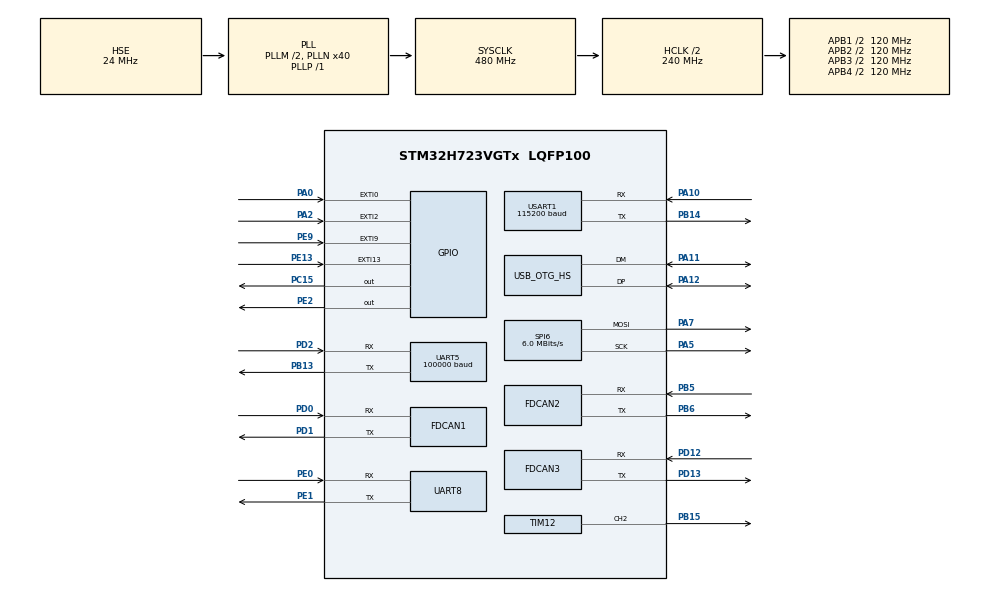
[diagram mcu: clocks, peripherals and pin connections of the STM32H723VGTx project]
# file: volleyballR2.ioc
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Bdma.Request0=SPI6_TX
Bdma.RequestsNb=1
Bdma.SPI6_TX.0.Direction=DMA_MEMORY_TO_PERIPH
Bdma.SPI6_TX.0.EventEnable=DISABLE
Bdma.SPI6_TX.0.Instance=BDMA_Channel0
Bdma.SPI6_TX.0.MemDataAlignment=DMA_MDATAALIGN_BYTE
Bdma.SPI6_TX.0.MemInc=DMA_MINC_ENABLE
Bdma.SPI6_TX.0.Mode=DMA_NORMAL
Bdma.SPI6_TX.0.PeriphDataAlignment=DMA_PDATAALIGN_BYTE
Bdma.SPI6_TX.0.PeriphInc=DMA_PINC_DISABLE
Bdma.SPI6_TX.0.Polarity=HAL_DMAMUX_REQ_GEN_RISING
Bdma.SPI6_TX.0.Priority=DMA_PRIORITY_HIGH
Bdma.SPI6_TX.0.RequestNumber=1
Bdma.SPI6_TX.0.SignalID=NONE
Bdma.SPI6_TX.0.SyncEnable=DISABLE
Bdma.SPI6_TX.0.SyncPolarity=HAL_DMAMUX_SYNC_NO_EVENT
Bdma.SPI6_TX.0.SyncRequestNumber=1
Bdma.SPI6_TX.0.SyncSignalID=NONE
CORTEX_M7.default_mode_Activation=1
Dma.Request0=USART1_RX
Dma.Request1=UART5_RX
Dma.UART5_RX.1.Direction=DMA_PERIPH_TO_MEMORY
Dma.UART5_RX.1.EventEnable=DISABLE
Dma.UART5_RX.1.FIFOMode=DMA_FIFOMODE_DISABLE
Dma.UART5_RX.1.Instance=DMA1_Stream2
Dma.UART5_RX.1.MemDataAlignment=DMA_MDATAALIGN_BYTE
Dma.UART5_RX.1.MemInc=DMA_MINC_ENABLE
Dma.UART5_RX.1.Mode=DMA_CIRCULAR
Dma.UART5_RX.1.PeriphDataAlignment=DMA_PDATAALIGN_BYTE
Dma.UART5_RX.1.PeriphInc=DMA_PINC_DISABLE
Dma.UART5_RX.1.Polarity=HAL_DMAMUX_REQ_GEN_RISING
Dma.UART5_RX.1.Priority=DMA_PRIORITY_VERY_HIGH
Dma.UART5_RX.1.RequestNumber=1
Dma.UART5_RX.1.SignalID=NONE
Dma.UART5_RX.1.SyncEnable=DISABLE
Dma.UART5_RX.1.SyncPolarity=HAL_DMAMUX_SYNC_NO_EVENT
Dma.UART5_RX.1.SyncRequestNumber=1
Dma.UART5_RX.1.SyncSignalID=NONE
Dma.USART1_RX.0.Direction=DMA_PERIPH_TO_MEMORY
Dma.USART1_RX.0.EventEnable=DISABLE
Dma.USART1_RX.0.FIFOMode=DMA_FIFOMODE_DISABLE
Dma.USART1_RX.0.Instance=DMA1_Stream0
Dma.USART1_RX.0.MemDataAlignment=DMA_MDATAALIGN_BYTE
Dma.USART1_RX.0.MemInc=DMA_MINC_ENABLE
Dma.USART1_RX.0.Mode=DMA_NORMAL
Dma.USART1_RX.0.PeriphDataAlignment=DMA_PDATAALIGN_BYTE
Dma.USART1_RX.0.PeriphInc=DMA_PINC_DISABLE
Dma.USART1_RX.0.Polarity=HAL_DMAMUX_REQ_GEN_RISING
Dma.USART1_RX.0.Priority=DMA_PRIORITY_LOW
Dma.USART1_RX.0.RequestNumber=1
Dma.USART1_RX.0.SignalID=NONE
Dma.USART1_RX.0.SyncEnable=DISABLE
Dma.USART1_RX.0.SyncPolarity=HAL_DMAMUX_SYNC_NO_EVENT
Dma.USART1_RX.0.SyncRequestNumber=1
Dma.USART1_RX.0.SyncSignalID=NONE
FDCAN1.AutoRetransmission=ENABLE
FDCAN1.CalculateBaudRateNominal=1000000
FDCAN1.CalculateTimeBitNominal=1000
FDCAN1.CalculateTimeQuantumNominal=12.5
FDCAN1.DataSyncJumpWidth=2
FDCAN1.DataTimeSeg1=13
FDCAN1.DataTimeSeg2=2
FDCAN1.ExtFiltersNbr=4
FDCAN1.NominalPrescaler=1
FDCAN1.NominalSyncJumpWidth=20
FDCAN1.NominalTimeSeg1=59
FDCAN1.NominalTimeSeg2=20
FDCAN1.ProtocolException=ENABLE
FDCAN1.RxBuffersNbr=2
FDCAN1.RxFifo0ElmtsNbr=8
FDCAN1.RxFifo1ElmtsNbr=8
FDCAN1.StdFiltersNbr=4
FDCAN1.TxBuffersNbr=8
FDCAN1.TxEventsNbr=8
FDCAN1.TxFifoQueueElmtsNbr=8
FDCAN2.AutoRetransmission=ENABLE
FDCAN2.CalculateBaudRateNominal=1000000
FDCAN2.CalculateTimeBitNominal=1000
FDCAN2.CalculateTimeQuantumNominal=12.5
FDCAN2.DataSyncJumpWidth=2
FDCAN2.DataTimeSeg1=13
FDCAN2.DataTimeSeg2=2
FDCAN2.ExtFiltersNbr=4
FDCAN2.MessageRAMOffset=0x406
FDCAN2.NominalPrescaler=1
FDCAN2.NominalSyncJumpWidth=20
FDCAN2.NominalTimeSeg1=59
FDCAN2.NominalTimeSeg2=20
FDCAN2.ProtocolException=ENABLE
FDCAN2.RxBuffersNbr=2
FDCAN2.RxFifo0ElmtsNbr=8
FDCAN2.RxFifo1ElmtsNbr=8
FDCAN2.StdFiltersNbr=4
FDCAN2.TxBuffersNbr=8
FDCAN2.TxEventsNbr=8
FDCAN2.TxFifoQueueElmtsNbr=8
FDCAN3.AutoRetransmission=ENABLE
FDCAN3.CalculateBaudRateNominal=1000000
FDCAN3.CalculateTimeBitNominal=1000
FDCAN3.CalculateTimeQuantumNominal=12.5
FDCAN3.DataSyncJumpWidth=2
FDCAN3.DataTimeSeg1=13
FDCAN3.DataTimeSeg2=2
FDCAN3.ExtFiltersNbr=4
FDCAN3.MessageRAMOffset=0x812
FDCAN3.NominalPrescaler=1
FDCAN3.NominalSyncJumpWidth=20
FDCAN3.NominalTimeSeg1=59
FDCAN3.NominalTimeSeg2=20
FDCAN3.ProtocolException=ENABLE
FDCAN3.RxBuffersNbr=2
FDCAN3.RxFifo0ElmtsNbr=8
FDCAN3.RxFifo1ElmtsNbr=8
FDCAN3.StdFiltersNbr=4
FDCAN3.TxBuffersNbr=8
FDCAN3.TxEventsNbr=8
FDCAN3.TxFifoQueueElmtsNbr=8
FREERTOS.Tasks01=defaultTask,-2,128,StartDefaultTask,Default,NULL,Dynamic,NULL,NULL;CanTask,-2,512,Can_Task,As weak,NULL,Dynamic,NULL,NULL;MotionTask,3,512,Motion_Task,As weak,NULL,Dynamic,NULL,NULL
Mcu.Family=STM32H7
Mcu.Name=STM32H723VGTx
Mcu.Package=LQFP100
NVIC.BDMA_Channel0_IRQn=true\:5\:0\:false\:false\:true\:true\:false\:true\:true
NVIC.DMA1_Stream0_IRQn=true\:5\:0\:false\:false\:true\:true\:false\:true\:true
NVIC.DMA1_Stream2_IRQn=true\:5\:0\:false\:false\:true\:false\:false\:true\:true
NVIC.EXTI0_IRQn=true\:5\:0\:true\:false\:true\:true\:true\:true\:true
NVIC.EXTI15_10_IRQn=true\:5\:0\:false\:false\:true\:true\:true\:true\:true
NVIC.EXTI2_IRQn=true\:5\:0\:false\:false\:true\:true\:true\:true\:true
NVIC.EXTI9_5_IRQn=true\:5\:0\:false\:false\:true\:true\:true\:true\:true
NVIC.FDCAN1_IT0_IRQn=true\:5\:0\:false\:false\:true\:true\:true\:true\:true
NVIC.FDCAN1_IT1_IRQn=true\:5\:0\:false\:false\:true\:true\:true\:true\:true
NVIC.FDCAN2_IT0_IRQn=true\:5\:0\:false\:false\:true\:true\:true\:true\:true
NVIC.FDCAN2_IT1_IRQn=true\:5\:0\:false\:false\:true\:true\:true\:true\:true
NVIC.FDCAN3_IT0_IRQn=true\:5\:0\:false\:false\:true\:true\:true\:true\:true
NVIC.FDCAN3_IT1_IRQn=true\:5\:0\:false\:false\:true\:true\:true\:true\:true
NVIC.OTG_HS_IRQn=true\:5\:0\:false\:false\:true\:true\:true\:true\:true
NVIC.PriorityGroup=NVIC_PRIORITYGROUP_4
NVIC.SPI6_IRQn=true\:5\:0\:false\:false\:true\:true\:false\:true\:true
NVIC.TIM1_UP_IRQn=true\:15\:0\:false\:false\:true\:false\:false\:true\:true
NVIC.TIM2_IRQn=true\:5\:0\:false\:false\:true\:true\:true\:true\:true
NVIC.TIM8_BRK_TIM12_IRQn=true\:5\:0\:false\:false\:true\:true\:true\:true\:true
NVIC.TimeBase=TIM1_UP_IRQn
NVIC.TimeBaseIP=TIM1
NVIC.UART5_IRQn=true\:5\:0\:false\:false\:true\:true\:true\:true\:true
NVIC.UART8_IRQn=true\:5\:0\:false\:false\:true\:true\:true\:true\:true
NVIC.USART1_IRQn=true\:5\:0\:false\:false\:true\:true\:true\:true\:true
PA0.GPIO_ModeDefaultEXTI=GPIO_MODE_IT_FALLING
PA0.GPIO_PuPd=GPIO_PULLUP
PA0.Signal=GPXTI0
PA10.Mode=Asynchronous
PA10.Signal=USART1_RX
PA11.Mode=Device_Only_FS
PA11.Signal=USB_OTG_HS_DM
PA12.Mode=Device_Only_FS
PA12.Signal=USB_OTG_HS_DP
PA2.GPIO_ModeDefaultEXTI=GPIO_MODE_IT_FALLING
PA2.GPIO_PuPd=GPIO_PULLUP
PA2.Signal=GPXTI2
PA5.Mode=TX_Only_Simplex_Unidirect_Master
PA5.Signal=SPI6_SCK
PA7.Mode=TX_Only_Simplex_Unidirect_Master
PA7.Signal=SPI6_MOSI
PB13.Mode=Asynchronous
PB13.Signal=UART5_TX
PB14.Mode=Asynchronous
PB14.Signal=USART1_TX
PB15.Signal=S_TIM12_CH2
PB5.Mode=FDCAN_Activate
PB5.Signal=FDCAN2_RX
PB6.Mode=FDCAN_Activate
PB6.Signal=FDCAN2_TX
PC15-OSC32_OUT.GPIO_PuPd=GPIO_PULLUP
PC15-OSC32_OUT.Signal=GPIO_Output
PD0.Mode=FDCAN_Activate
PD0.Signal=FDCAN1_RX
PD1.Mode=FDCAN_Activate
PD1.Signal=FDCAN1_TX
PD12.Mode=FDCAN_Activate
PD12.Signal=FDCAN3_RX
PD13.Mode=FDCAN_Activate
PD13.Signal=FDCAN3_TX
PD2.Mode=Asynchronous
PD2.Signal=UART5_RX
PE0.Mode=Asynchronous
PE0.Signal=UART8_RX
PE1.Mode=Asynchronous
PE1.Signal=UART8_TX
PE13.GPIO_ModeDefaultEXTI=GPIO_MODE_IT_FALLING
PE13.GPIO_PuPd=GPIO_PULLUP
PE13.Signal=GPXTI13
PE2.Signal=GPIO_Output
PE9.GPIO_ModeDefaultEXTI=GPIO_MODE_IT_FALLING
PE9.GPIO_PuPd=GPIO_PULLUP
PE9.Signal=GPXTI9
PH0-OSC_IN.Mode=HSE-External-Oscillator
PH0-OSC_IN.Signal=RCC_OSC_IN
PH1-OSC_OUT.Mode=HSE-External-Oscillator
PH1-OSC_OUT.Signal=RCC_OSC_OUT
ProjectManager.HeapSize=0x200
ProjectManager.StackSize=0x400
ProjectManager.TargetToolchain=MDK-ARM V5.32
RCC.ADCFreq_Value=48375000
RCC.APB1Freq_Value=120000000
RCC.APB2Freq_Value=120000000
RCC.APB3Freq_Value=120000000
RCC.APB4Freq_Value=120000000
RCC.CortexFreq_Value=480000000
RCC.D1PPRE=RCC_APB3_DIV2
RCC.D2PPRE1=RCC_APB1_DIV2
RCC.D2PPRE2=RCC_APB2_DIV2
RCC.D3PPRE=RCC_APB4_DIV2
RCC.DIVM1=2
RCC.DIVN1=40
RCC.DIVP1=1
RCC.DIVQ1=6
RCC.HCLKFreq_Value=240000000
RCC.HPRE=RCC_HCLK_DIV2
RCC.HSE_VALUE=24000000
RCC.PLL2FRACN=0
RCC.PLL3FRACN=0
RCC.PLLFRACN=0
RCC.PLLSourceVirtual=RCC_PLLSOURCE_HSE
RCC.SPI6CLockSelection=RCC_SPI6CLKSOURCE_HSE
RCC.SYSCLKFreq_VALUE=480000000
RCC.SYSCLKSource=RCC_SYSCLKSOURCE_PLLCLK
RCC.USBCLockSelection=RCC_USBCLKSOURCE_HSI48
RCC.USBFreq_Value=48000000
SH.S_TIM12_CH2.0=TIM12_CH2,PWM Generation2 CH2
SPI6.BaudRatePrescaler=SPI_BAUDRATEPRESCALER_4
SPI6.CLKPhase=SPI_PHASE_2EDGE
SPI6.CalculateBaudRate=6.0 MBits/s
SPI6.DataSize=SPI_DATASIZE_8BIT
SPI6.Direction=SPI_DIRECTION_2LINES_TXONLY
SPI6.Mode=SPI_MODE_MASTER
SPI6.VirtualType=VM_MASTER
TIM12.Channel-PWM\ Generation2\ CH2=TIM_CHANNEL_2
TIM12.Prescaler=240-1
TIM2.Period=1000-1
TIM2.Prescaler=480-1
UART5.BaudRate=100000
UART5.Parity=PARITY_EVEN
UART5.StopBits=UART_STOPBITS_2
UART5.WordLength=WORDLENGTH_9B
USART1.BaudRate=115200
USART1.StopBits=STOPBITS_2
USART1.VirtualMode-Asynchronous=VM_ASYNC
USART1.WordLength=WORDLENGTH_8B
USB_DEVICE.CLASS_NAME_HS=CDC
USB_DEVICE.VirtualMode=Cdc
USB_DEVICE.VirtualModeHS=Cdc_HS
USB_OTG_HS.VirtualMode-Device_Only_FS=Device_Only_FS
VP_FREERTOS_VS_CMSIS_V2.Mode=CMSIS_V2
VP_MEMORYMAP_VS_MEMORYMAP.Mode=CurAppReg
VP_SYS_VS_tim1.Mode=TIM1
VP_TIM12_VS_ClockSourceINT.Mode=Internal
VP_TIM2_VS_ClockSourceINT.Mode=Internal
VP_USB_DEVICE_VS_USB_DEVICE_CDC_HS.Mode=CDC_HS
board=custom

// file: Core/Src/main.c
/* USER CODE BEGIN Header */
/**
  ******************************************************************************
  * @file           : main.c
  * @brief          : Main program body
  ******************************************************************************
  * @attention
  *
  * Copyright (c) 2026 STMicroelectronics.
  * All rights reserved.
  *
  * This software is licensed under terms that can be found in the LICENSE file
  * in the root directory of this software component.
  * If no LICENSE file comes with this software, it is provided AS-IS.
  *
  ******************************************************************************
  */
/* USER CODE END Header */
#include "main.h"
#include "FreeRTOS.h"
#include "cmsis_os2.h"
#include "bdma.h"
#include "dma.h"
#include "fdcan.h"
#include "spi.h"
#include "tim.h"
#include "usart.h"
#include "usb_device.h"
#include "gpio.h"

/* USER CODE BEGIN Includes */
#include "register.h"
#include "bsp_can.h"
#include "bsp_uart.h"
#include "dji_motor.h"
#include "master_control.h"
#include "KEY.h"
#include "Motion_Task.h"
#include "BUZZER.h"
#include "Can_Task.h"
#include "ws2812.h"
/* USER CODE END Includes */

void SystemClock_Config(void);
static void MPU_Config(void);
void MX_FREERTOS_Init(void);

int main(void)
{

  /* MPU Configuration--------------------------------------------------------*/
  MPU_Config();

  /* MCU Configuration--------------------------------------------------------*/

  /* Reset of all peripherals, Initializes the Flash interface and the Systick. */
  HAL_Init();

  /* Configure the system clock */
  SystemClock_Config();

  /* USER CODE BEGIN SysInit */

  MX_GPIO_Init();
	HAL_GPIO_WritePin(GPIOC,GPIO_PIN_15,GPIO_PIN_SET);
	HAL_Delay(1500);
  /* USER CODE END SysInit */

  /* Initialize all configured peripherals */
  MX_GPIO_Init();
  MX_DMA_Init();
  MX_BDMA_Init();
  MX_FDCAN1_Init();
  MX_FDCAN2_Init();
  MX_FDCAN3_Init();
  MX_USART1_UART_Init();
  MX_UART8_Init();
  MX_SPI6_Init();
  MX_UART5_Init();
  MX_TIM12_Init();
  MX_TIM2_Init();
  /* USER CODE BEGIN 2 */
  //�����ʼ��
  BSP_CAN_Init();
  BSP_USART_Init();
  HAL_Delay(1500);
  //������ʼ��
  Structue_Init();
//   HAL_UART_Receive_IT(&huart1, &data8, 1);
  HAL_TIM_Base_Start_IT(&htim2);
	HAL_TIM_PWM_Start(&htim12,TIM_CHANNEL_2);

  /* USER CODE END 2 */

  /* Init scheduler */
  osKernelInitialize();  /* Call init function for freertos objects (in cmsis_os2.c) */
  MX_FREERTOS_Init();

  /* Start scheduler */
  osKernelStart();

  /* We should never get here as control is now taken by the scheduler */

  /* Infinite loop */
  while (1)
  {

  }
}

void SystemClock_Config(void)
{
  RCC_OscInitTypeDef RCC_OscInitStruct = {0};
  RCC_ClkInitTypeDef RCC_ClkInitStruct = {0};

  /** Supply configuration update enable
  */
  HAL_PWREx_ConfigSupply(PWR_LDO_SUPPLY);

  /** Configure the main internal regulator output voltage
  */
  __HAL_PWR_VOLTAGESCALING_CONFIG(PWR_REGULATOR_VOLTAGE_SCALE0);

  while(!__HAL_PWR_GET_FLAG(PWR_FLAG_VOSRDY)) {}

  /** Initializes the RCC Oscillators according to the specified parameters
  * in the RCC_OscInitTypeDef structure.
  */
  RCC_OscInitStruct.OscillatorType = RCC_OSCILLATORTYPE_HSI48|RCC_OSCILLATORTYPE_HSE;
  RCC_OscInitStruct.HSEState = RCC_HSE_ON;
  RCC_OscInitStruct.HSI48State = RCC_HSI48_ON;
  RCC_OscInitStruct.PLL.PLLState = RCC_PLL_ON;
  RCC_OscInitStruct.PLL.PLLSource = RCC_PLLSOURCE_HSE;
  RCC_OscInitStruct.PLL.PLLM = 2;
  RCC_OscInitStruct.PLL.PLLN = 40;
  RCC_OscInitStruct.PLL.PLLP = 1;
  RCC_OscInitStruct.PLL.PLLQ = 6;
  RCC_OscInitStruct.PLL.PLLR = 2;
  RCC_OscInitStruct.PLL.PLLRGE = RCC_PLL1VCIRANGE_3;
  RCC_OscInitStruct.PLL.PLLVCOSEL = RCC_PLL1VCOWIDE;
  RCC_OscInitStruct.PLL.PLLFRACN = 0;
  if (HAL_RCC_OscConfig(&RCC_OscInitStruct) != HAL_OK)
  {
    Error_Handler();
  }

  /** Initializes the CPU, AHB and APB buses clocks
  */
  RCC_ClkInitStruct.ClockType = RCC_CLOCKTYPE_HCLK|RCC_CLOCKTYPE_SYSCLK
                              |RCC_CLOCKTYPE_PCLK1|RCC_CLOCKTYPE_PCLK2
                              |RCC_CLOCKTYPE_D3PCLK1|RCC_CLOCKTYPE_D1PCLK1;
  RCC_ClkInitStruct.SYSCLKSource = RCC_SYSCLKSOURCE_PLLCLK;
  RCC_ClkInitStruct.SYSCLKDivider = RCC_SYSCLK_DIV1;
  RCC_ClkInitStruct.AHBCLKDivider = RCC_HCLK_DIV2;
  RCC_ClkInitStruct.APB3CLKDivider = RCC_APB3_DIV2;
  RCC_ClkInitStruct.APB1CLKDivider = RCC_APB1_DIV2;
  RCC_ClkInitStruct.APB2CLKDivider = RCC_APB2_DIV2;
  RCC_ClkInitStruct.APB4CLKDivider = RCC_APB4_DIV2;

  if (HAL_RCC_ClockConfig(&RCC_ClkInitStruct, FLASH_LATENCY_3) != HAL_OK)
  {
    Error_Handler();
  }
}

 /* MPU Configuration */

void MPU_Config(void)
{
  MPU_Region_InitTypeDef MPU_InitStruct = {0};

  /* Disables the MPU */
  HAL_MPU_Disable();

  /** Initializes and configures the Region and the memory to be protected
  */
  MPU_InitStruct.Enable = MPU_REGION_ENABLE;
  MPU_InitStruct.Number = MPU_REGION_NUMBER0;
  MPU_InitStruct.BaseAddress = 0x0;
  MPU_InitStruct.Size = MPU_REGION_SIZE_4GB;
  MPU_InitStruct.SubRegionDisable = 0x87;
  MPU_InitStruct.TypeExtField = MPU_TEX_LEVEL0;
  MPU_InitStruct.AccessPermission = MPU_REGION_NO_ACCESS;
  MPU_InitStruct.DisableExec = MPU_INSTRUCTION_ACCESS_DISABLE;
  MPU_InitStruct.IsShareable = MPU_ACCESS_SHAREABLE;
  MPU_InitStruct.IsCacheable = MPU_ACCESS_NOT_CACHEABLE;
  MPU_InitStruct.IsBufferable = MPU_ACCESS_NOT_BUFFERABLE;

  HAL_MPU_ConfigRegion(&MPU_InitStruct);
  /* Enables the MPU */
  HAL_MPU_Enable(MPU_PRIVILEGED_DEFAULT);

}

void HAL_TIM_PeriodElapsedCallback(TIM_HandleTypeDef *htim)
{
  if (htim->Instance == TIM1)
  {
    HAL_IncTick();
  }
  /* USER CODE BEGIN Callback 1 */
  if (htim->Instance == TIM2)
  {

  }
  /* USER CODE END Callback 1 */
}

void Error_Handler(void)
{
  __disable_irq();
  while (1)
  {
  }
}

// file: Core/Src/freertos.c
/* USER CODE BEGIN Header */
/**
  ******************************************************************************
  * File Name          : freertos.c
  * Description        : Code for freertos applications
  ******************************************************************************
  * @attention
  *
  * Copyright (c) 2026 STMicroelectronics.
  * All rights reserved.
  *
  * This software is licensed under terms that can be found in the LICENSE file
  * in the root directory of this software component.
  * If no LICENSE file comes with this software, it is provided AS-IS.
  *
  ******************************************************************************
  */
/* USER CODE END Header */

#include "FreeRTOS.h"
#include "task.h"
#include "main.h"
#include "FreeRTOS.h"
#include "cmsis_os2.h"

/* Definitions for defaultTask */
osThreadId_t defaultTaskHandle;
const osThreadAttr_t defaultTask_attributes = {
  .name = "defaultTask",
  .stack_size = 128 * 4,
  .priority = (osPriority_t) osPriorityNormal,
};
/* Definitions for CanTask */
osThreadId_t CanTaskHandle;
const osThreadAttr_t CanTask_attributes = {
  .name = "CanTask",
  .stack_size = 512 * 4,
  .priority = (osPriority_t) osPriorityNormal,
};
/* Definitions for MotionTask */
osThreadId_t MotionTaskHandle;
const osThreadAttr_t MotionTask_attributes = {
  .name = "MotionTask",
  .stack_size = 512 * 4,
  .priority = (osPriority_t) osPriorityNormal,
};

void StartDefaultTask(void *argument);
void Can_Task(void *argument);
void Motion_Task(void *argument);

extern void MX_USB_DEVICE_Init(void);
void MX_FREERTOS_Init(void); /* (MISRA C 2004 rule 8.1) */

void MX_FREERTOS_Init(void) {

  /* Create the thread(s) */
  /* creation of defaultTask */
  defaultTaskHandle = osThreadNew(StartDefaultTask, NULL, &defaultTask_attributes);

  /* creation of CanTask */
  CanTaskHandle = osThreadNew(Can_Task, NULL, &CanTask_attributes);

  /* creation of MotionTask */
  MotionTaskHandle = osThreadNew(Motion_Task, NULL, &MotionTask_attributes);

}

void StartDefaultTask(void *argument)
{
  /* init code for USB_DEVICE */
  MX_USB_DEVICE_Init();
  for(;;)
  {
    osDelay(1);
  }
}

__weak void Can_Task(void *argument)
{
  for(;;)
  {
    osDelay(1);
  }
}

__weak void Motion_Task(void *argument)
{
  for(;;)
  {
    osDelay(1);
  }
}
